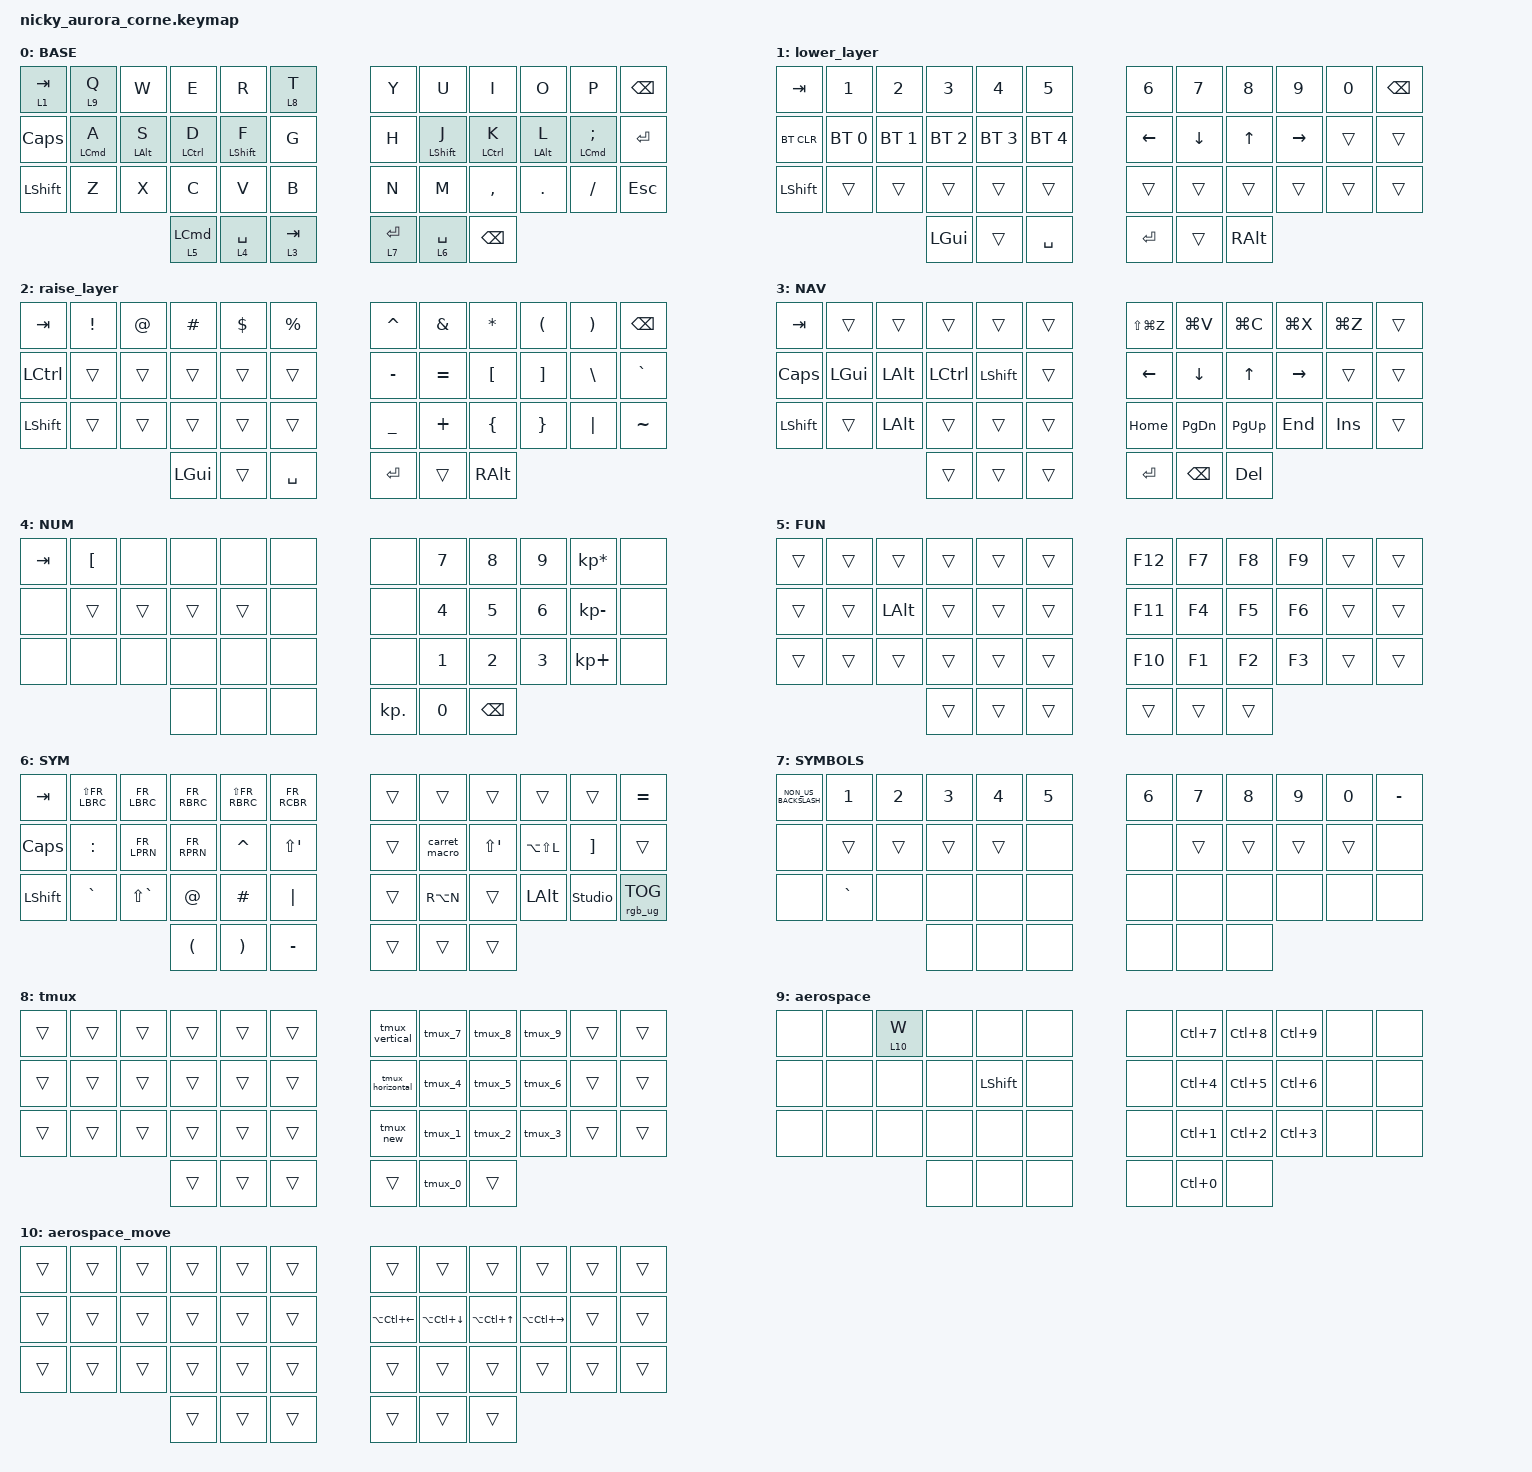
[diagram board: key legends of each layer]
/*
 * Copyright (c) 2020 The ZMK Contributors
 *
 * SPDX-License-Identifier: MIT
 */

#include "keymap_french.h"
#include <behaviors.dtsi>
#include <dt-bindings/zmk/bt.h>
#include <dt-bindings/zmk/keys.h>
#include <dt-bindings/zmk/rgb.h>

&led_strip {
    // chain-length = <0>;

    chain-length = <27>;

    // chain-length = <3>;
    // 21 backlight + 6 glowlight
};

/ {
    behaviors {
        u_lt: u_lt {
            compatible = "zmk,behavior-hold-tap";
            label = "U_LT";
            bindings = <&mo>, <&kp>;

            #binding-cells = <2>;
            tapping-term-ms = <150>;
            flavor = "tap-preferred";
            quick-tap-ms = <0>;
            require-prior-idle-ms = <0>;
        };

        u_ht: u_ht {
            compatible = "zmk,behavior-hold-tap";
            label = "U_HT";
            bindings = <&kp>, <&kp>;

            #binding-cells = <2>;
            tapping-term-ms = <150>;
            flavor = "tap-preferred";
            quick-tap-ms = <150>;
        };
    };

    macros {
        carret_macro: carret_macro {
            compatible = "zmk,behavior-macro";
            #binding-cells = <0>;
            bindings = <&kp LBKT &kp SPACE>;
            label = "CARRET_MACRO";
        };

        tmux_0: tmux_0 {
            compatible = "zmk,behavior-macro";
            #binding-cells = <0>;
            bindings = <&kp LC(B) &kp LS(NUMBER_0)>;
            label = "TMUX_0";
        };

        tmux_1: tmux_1 {
            compatible = "zmk,behavior-macro";
            #binding-cells = <0>;
            bindings = <&kp LC(B) &kp LS(NUMBER_1)>;
            label = "TMUX_1";
        };

        tmux_2: tmux_2 {
            compatible = "zmk,behavior-macro";
            #binding-cells = <0>;
            bindings = <&kp LC(B) &kp LS(NUMBER_2)>;
            label = "TMUX_2";
        };

        tmux_3: tmux_3 {
            compatible = "zmk,behavior-macro";
            #binding-cells = <0>;
            bindings = <&kp LC(B) &kp LS(NUMBER_3)>;
            label = "TMUX_3";
        };

        tmux_4: tmux_4 {
            compatible = "zmk,behavior-macro";
            #binding-cells = <0>;
            bindings = <&kp LC(B) &kp LS(NUMBER_4)>;
            label = "TMUX_4";
        };

        tmux_5: tmux_5 {
            compatible = "zmk,behavior-macro";
            #binding-cells = <0>;
            bindings = <&kp LC(B) &kp LS(NUMBER_5)>;
            label = "TMUX_5";
        };

        tmux_6: tmux_6 {
            compatible = "zmk,behavior-macro";
            #binding-cells = <0>;
            bindings = <&kp LC(B) &kp LS(NUMBER_6)>;
            label = "TMUX_6";
        };

        tmux_7: tmux_7 {
            compatible = "zmk,behavior-macro";
            #binding-cells = <0>;
            bindings = <&kp LC(B) &kp LS(NUMBER_7)>;
            label = "TMUX_7";
        };

        tmux_8: tmux_8 {
            compatible = "zmk,behavior-macro";
            #binding-cells = <0>;
            bindings = <&kp LC(B) &kp LS(NUMBER_8)>;
            label = "TMUX_8";
        };

        tmux_9: tmux_9 {
            compatible = "zmk,behavior-macro";
            #binding-cells = <0>;
            bindings = <&kp LC(B) &kp LS(NUMBER_9)>;
            label = "TMUX_9";
        };

        tmux_new: tmux_new {
            compatible = "zmk,behavior-macro";
            #binding-cells = <0>;
            bindings = <&kp LC(B) &kp C>;
            label = "TMUX_NEW";
        };

        tmux_vertical: tmux_vertical {
            compatible = "zmk,behavior-macro";
            #binding-cells = <0>;
            bindings = <&kp LC(B) &kp LS(SINGLE_QUOTE)>;
            label = "TMUX_VERTICAL";
        };

        tmux_horizontal: tmux_horizontal {
            compatible = "zmk,behavior-macro";
            #binding-cells = <0>;
            bindings = <&kp LC(B) &kp NUMBER_3>;
            label = "TMUX_HORIZONTAL";
        };
    };

    keymap {
        compatible = "zmk,keymap";

        BASE {
            // -----------------------------------------------------------------------------------------
            // |  TAB |  Q  |  W  |  E  |  R  |  T  |   |  Y  |  U   |  I  |  O  |  P  | BKSP |
            // | CTRL |  A  |  S  |  D  |  F  |  G  |   |  H  |  J   |  K  |  L  |  ;  |  '   |
            // | SHFT |  Z  |  X  |  C  |  V  |  B  |   |  N  |  M   |  ,  |  .  |  /  | ESC  |
            //                    | GUI | LWR | SPC |   | ENT | RSE  | ALT |

            bindings = <
&u_lt 1 TAB   &u_lt 9 Q             &kp W             &kp E                 &kp R               &u_lt 8 T      &kp Y        &kp U               &kp I                 &kp O             &kp P                    &kp BSPC
&kp CAPSLOCK  &u_ht LEFT_COMMAND A  &u_ht LEFT_ALT S  &u_ht LEFT_CONTROL D  &u_ht LEFT_SHIFT F  &kp G          &kp H        &u_ht LEFT_SHIFT J  &u_ht LEFT_CONTROL K  &u_ht LEFT_ALT L  &u_ht LEFT_COMMAND SEMI  &kp ENTER
&kp LSHFT     &kp Z                 &kp X             &kp C                 &kp V               &kp B          &kp N        &kp M               &kp COMMA             &kp DOT           &kp FSLH                 &kp ESC
                                                      &u_lt 5 LEFT_COMMAND  &u_lt 4 SPACE       &u_lt 3 TAB    &u_lt 7 RET  &u_lt 6 SPACE       &kp BACKSPACE
            >;
        };

        lower_layer {
            // -----------------------------------------------------------------------------------------
            // |  TAB |  1  |  2  |  3  |  4  |  5  |   |  6  |  7  |  8  |  9  |  0  | BKSP |
            // | BTCLR| BT1 | BT2 | BT3 | BT4 | BT5 |   | LFT | DWN |  UP | RGT |     |      |
            // | SHFT |     |     |     |     |     |   |     |     |     |     |     |      |
            //                    | GUI |     | SPC |   | ENT |     | ALT |

            bindings = <
&kp TAB     &kp N1        &kp N2        &kp N3        &kp N4        &kp N5          &kp N6    &kp N7    &kp N8    &kp N9     &kp N0  &kp BSPC
&bt BT_CLR  &bt BT_SEL 0  &bt BT_SEL 1  &bt BT_SEL 2  &bt BT_SEL 3  &bt BT_SEL 4    &kp LEFT  &kp DOWN  &kp UP    &kp RIGHT  &trans  &trans
&kp LSHFT   &trans        &trans        &trans        &trans        &trans          &trans    &trans    &trans    &trans     &trans  &trans
                                        &kp LGUI      &trans        &kp SPACE       &kp RET   &trans    &kp RALT
            >;
        };

        raise_layer {
            // -----------------------------------------------------------------------------------------
            // |  TAB |  !  |  @  |  #  |  $  |  %  |   |  ^  |  &  |  *  |  (  |  )  | BKSP |
            // | CTRL |     |     |     |     |     |   |  -  |  =  |  [  |  ]  |  \  |  `   |
            // | SHFT |     |     |     |     |     |   |  _  |  +  |  {  |  }  | "|" |  ~   |
            //                    | GUI |     | SPC |   | ENT |     | ALT |

            bindings = <
&kp TAB    &kp EXCL  &kp AT  &kp HASH  &kp DLLR  &kp PRCNT    &kp CARET  &kp AMPS   &kp ASTRK  &kp LPAR  &kp RPAR  &kp BSPC
&kp LCTRL  &trans    &trans  &trans    &trans    &trans       &kp MINUS  &kp EQUAL  &kp LBKT   &kp RBKT  &kp BSLH  &kp GRAVE
&kp LSHFT  &trans    &trans  &trans    &trans    &trans       &kp UNDER  &kp PLUS   &kp LBRC   &kp RBRC  &kp PIPE  &kp TILDE
                             &kp LGUI  &trans    &kp SPACE    &kp RET    &trans     &kp RALT
            >;
        };

        NAV {
            bindings = <
&kp TAB    &trans    &trans    &trans     &trans     &trans    &kp LS(LG(Z))  &kp LG(V)  &kp LG(C)  &kp LG(X)  &kp LG(Z)  &trans
&kp CAPS   &kp LGUI  &kp LALT  &kp LCTRL  &kp LSHFT  &trans    &kp LEFT       &kp DOWN   &kp UP     &kp RIGHT  &trans     &trans
&kp LSHFT  &trans    &kp LALT  &trans     &trans     &trans    &kp HOME       &kp PG_DN  &kp PG_UP  &kp END    &kp INS    &trans
                               &trans     &trans     &trans    &kp RET        &kp BSPC   &kp DEL
            >;
        };

        NUM {
            bindings = <
&kp TAB  &kp LBKT  &none   &none   &none   &none    &none       &kp N7  &kp N8         &kp N9  &kp KP_ASTERISK  &none
&none    &trans    &trans  &trans  &trans  &none    &none       &kp N4  &kp N5         &kp N6  &kp KP_MINUS     &none
&none    &none     &none   &none   &none   &none    &none       &kp N1  &kp N2         &kp N3  &kp KP_PLUS      &none
                           &none   &none   &none    &kp KP_DOT  &kp N0  &kp BACKSPACE
            >;
        };

        FUN {
            bindings = <
&trans  &trans  &trans    &trans  &trans  &trans    &kp F12  &kp F7  &kp F8  &kp F9  &trans  &trans
&trans  &trans  &kp LALT  &trans  &trans  &trans    &kp F11  &kp F4  &kp F5  &kp F6  &trans  &trans
&trans  &trans  &trans    &trans  &trans  &trans    &kp F10  &kp F1  &kp F2  &kp F3  &trans  &trans
                          &trans  &trans  &trans    &trans   &trans  &trans
            >;
        };

        SYM {
            bindings = <
&kp TAB    &kp LS(FR_LBRC)  &kp FR_LBRC    &kp FR_RBRC  &kp LS(FR_RBRC)  &kp FR_RCBR             &trans  &trans         &trans                &trans         &trans             &kp EQUAL
&kp CAPS   &kp COLON        &kp FR_LPRN    &kp FR_RPRN  &kp CARET        &kp LS(SINGLE_QUOTE)    &trans  &carret_macro  &kp LS(SINGLE_QUOTE)  &kp LA(LS(L))  &kp RIGHT_BRACKET  &trans
&kp LSHFT  &kp GRAVE        &kp LS(GRAVE)  &kp AT       &kp HASH         &kp PIPE                &trans  &kp RA(N)      &trans                &kp LALT       &studio_unlock     &rgb_ug RGB_TOG
                                           &kp LPAR     &kp RPAR         &kp MINUS               &trans  &trans         &trans
            >;
        };

        SYMBOLS {
            bindings = <
&kp NON_US_BACKSLASH  &kp N1     &kp N2  &kp N3  &kp N4  &kp N5    &kp N6  &kp N7  &kp N8  &kp N9  &kp N0  &kp MINUS
&none                 &trans     &trans  &trans  &trans  &none     &none   &trans  &trans  &trans  &trans  &none
&none                 &kp GRAVE  &none   &none   &none   &none     &none   &none   &none   &none   &none   &none
                                         &none   &none   &none     &none   &none   &none
            >;
        };

        tmux {
            bindings = <
&trans  &trans  &trans  &trans  &trans  &trans    &tmux_vertical    &tmux_7  &tmux_8  &tmux_9  &trans  &trans
&trans  &trans  &trans  &trans  &trans  &trans    &tmux_horizontal  &tmux_4  &tmux_5  &tmux_6  &trans  &trans
&trans  &trans  &trans  &trans  &trans  &trans    &tmux_new         &tmux_1  &tmux_2  &tmux_3  &trans  &trans
                        &trans  &trans  &trans    &trans            &tmux_0  &trans
            >;
        };

        aerospace {
            bindings = <
&none  &none  &lt 10 W  &none  &none           &none    &none  &kp LC(NUMBER_7)  &kp LC(NUMBER_8)  &kp LC(NUMBER_9)  &none  &none
&none  &none  &none     &none  &kp LEFT_SHIFT  &none    &none  &kp LC(NUMBER_4)  &kp LC(NUMBER_5)  &kp LC(NUMBER_6)  &none  &none
&none  &none  &none     &none  &none           &none    &none  &kp LC(NUMBER_1)  &kp LC(NUMBER_2)  &kp LC(NUMBER_3)  &none  &none
                        &none  &none           &none    &none  &kp LC(NUMBER_0)  &none
            >;
        };

        aerospace_move {
            bindings = <
&trans  &trans  &trans  &trans  &trans  &trans    &trans            &trans            &trans                &trans             &trans  &trans
&trans  &trans  &trans  &trans  &trans  &trans    &kp LA(LC(LEFT))  &kp LA(LC(DOWN))  &kp LA(LC(UP_ARROW))  &kp LA(LC(RIGHT))  &trans  &trans
&trans  &trans  &trans  &trans  &trans  &trans    &trans            &trans            &trans                &trans             &trans  &trans
                        &trans  &trans  &trans    &trans            &trans            &trans
            >;
        };
    };
};
